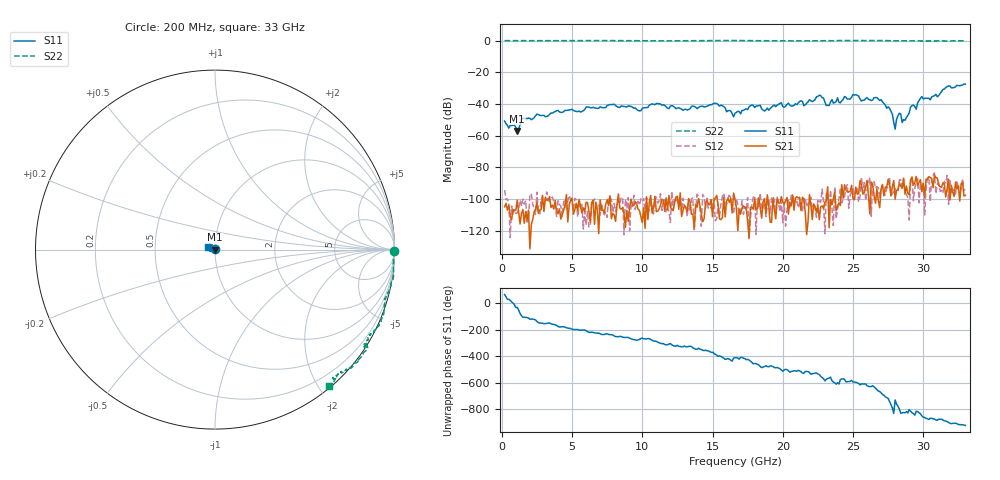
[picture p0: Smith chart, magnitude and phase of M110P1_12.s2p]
# GHZ S RI R 50
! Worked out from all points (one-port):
!   329 points, 200 MHz to 33 GHz, reference 50 ohm
!   lowest |S11| = -57.1 dB at 1.1 GHz (marker M1), VSWR 1.00, Z = 50.1 - j0.0738 ohm
!   |S11| at or under -10 dB: start of sweep to end of sweep
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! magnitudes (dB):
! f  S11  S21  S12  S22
! 200 MHz  -50.8  -105.0  -94.4  0.0
! 1.1 GHz  -57.1  -100.9  -108.9  0.0
! 1.5 GHz  -48.9  -106.7  -100.1  0.0
! 5.7 GHz  -44.8  -108.8  -103.5  0.0
! 11.2 GHz  -39.9  -106.4  -101.2  -0.1
! 12.9 GHz  -44.1  -107.2  -99.6  -0.1
! 15.3 GHz  -39.7  -97.8  -112.4  0.1
! 16.6 GHz  -45.9  -100.1  -104.9  0.1
! 17.8 GHz  -40.7  -105.2  -103.2  0.0
! 18.7 GHz  -44.5  -99.8  -102.3  0.0
! 22.1 GHz  -38.5  -113.1  -105.9  -0.1
! 22.7 GHz  -34.7  -105.1  -102.2  -0.1
! 23.3 GHz  -41.0  -118.2  -105.6  0.0
! 25.2 GHz  -34.1  -92.6  -92.9  0.1
! 26.7 GHz  -36.0  -93.5  -92.2  0.0
! 27.6 GHz  -42.8  -90.6  -86.5  0.0
! 28 GHz  -55.9  -100.1  -93.3  -0.1
! 28.3 GHz  -45.9  -90.0  -88.0  -0.1
! 28.5 GHz  -51.7  -93.1  -94.2  -0.1
! 29.9 GHz  -35.4  -95.4  -90.1  -0.2
! 30.5 GHz  -37.4  -86.5  -101.6  -0.2
! 33 GHz  -27.5  -97.7  -94.3  -0.1
